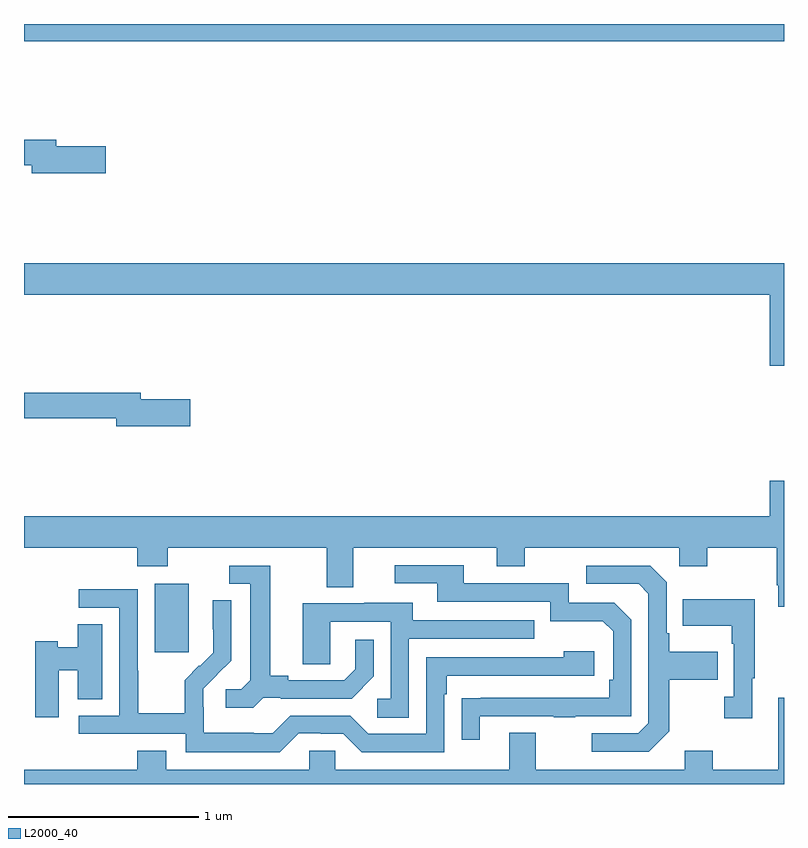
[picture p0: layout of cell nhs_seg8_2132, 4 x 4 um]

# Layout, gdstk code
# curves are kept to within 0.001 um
import gdstk
lib = gdstk.Library(unit=1e-6, precision=1e-09)
def R(c, l, rs):  # rectangles x0, y0, x1, y1
    for r in rs: c.add(gdstk.rectangle(r[:2], r[2:], *l))
def P(c, l, *ps):  # polygons
    for p in ps: c.add(gdstk.Polygon(p, *l))
L2000_40 = (2000, 40)

nhs_seg8_2132 = lib.new_cell('nhs_seg8_2132')
R(nhs_seg8_2132, L2000_40, [(245.687,1138.593,245.866,1138.954), (245,1141.808,249,1141.9)])
P(nhs_seg8_2132, L2000_40, [(245.431,1141.256),(245.17,1141.256),(245.17,1141.292),(245,1141.292),(245,1141.156),(245.042,1141.156),(245.042,1141.114),(245.431,1141.114)],
  [(249,1140.64),(245,1140.64),(245,1140.476),(248.924,1140.476),(248.924,1140.102),(249,1140.102)],
  [(245.875,1139.924),(245.614,1139.924),(245.614,1139.96),(245,1139.96),(245,1139.824),(245.486,1139.824),(245.486,1139.782),(245.875,1139.782)],
  [(245,1139.144),(245.597,1139.144),(245.597,1139.045),(245.757,1139.045),(245.757,1139.144),(246.593,1139.144),(246.593,1138.936),(246.733,1138.936),(246.733,1139.144),(247.487,1139.144),(247.487,1139.045),(247.635,1139.045),(247.635,1139.144),(248.448,1139.144),(248.448,1139.045),(248.595,1139.045),(248.595,1139.144),(248.962,1139.144),(248.962,1138.945),(248.969,1138.945),(248.969,1138.833),(249,1138.833),(249,1139.497),(248.924,1139.497),(248.924,1139.308),(245,1139.308)],
  [(247.399,1138.257),(247.789,1138.257),(247.789,1138.252),(247.901,1138.252),(247.901,1138.257),(248.196,1138.257),(248.196,1138.764),(248.106,1138.854),(247.866,1138.854),(247.866,1138.956),(247.315,1138.956),(247.315,1139.052),(246.951,1139.052),(246.951,1138.956),(247.175,1138.956),(247.175,1138.86),(247.77,1138.86),(247.77,1138.757),(248.047,1138.757),(248.1,1138.704),(248.1,1138.45),(248.08,1138.45),(248.08,1138.353),(247.303,1138.352),(247.303,1138.134),(247.399,1138.134)],
  [(248.395,1138.177),(248.395,1138.45),(248.651,1138.45),(248.651,1138.597),(248.395,1138.597),(248.395,1138.693),(248.382,1138.693),(248.382,1138.962),(248.295,1139.049),(247.959,1139.049),(247.959,1138.953),(248.235,1138.953),(248.286,1138.902),(248.286,1138.221),(248.232,1138.167),(247.989,1138.167),(247.989,1138.071),(248.289,1138.071)],
  [(246.258,1138.353),(246.352,1138.353),(246.352,1138.35),(246.724,1138.35),(246.84,1138.466),(246.84,1138.66),(246.743,1138.66),(246.743,1138.503),(246.686,1138.446),(246.391,1138.446),(246.391,1138.469),(246.295,1138.469),(246.295,1139.049),(246.081,1139.049),(246.081,1138.953),(246.191,1138.953),(246.191,1138.445),(246.144,1138.398),(246.063,1138.398),(246.063,1138.301),(246.206,1138.301)],
  [(246.447,1138.167),(246.563,1138.167),(246.563,1138.164),(246.681,1138.164),(246.777,1138.068),(247.212,1138.068),(247.212,1138.373),(247.225,1138.373),(247.225,1138.47),(248.002,1138.47),(248.002,1138.6),(247.841,1138.6),(247.841,1138.566),(247.116,1138.566),(247.116,1138.164),(246.813,1138.164),(246.717,1138.26),(246.402,1138.26),(246.309,1138.167),(246.209,1138.167),(246.209,1138.171),(245.946,1138.171),(245.946,1138.305),(245.944,1138.305),(245.944,1138.402),(246.09,1138.55),(246.09,1138.868),(245.994,1138.868),(245.994,1138.714),(245.996,1138.714),(245.996,1138.592),(245.925,1138.521),(245.922,1138.524),(245.845,1138.447),(245.845,1138.273),(245.601,1138.273),(245.601,1138.496),(245.598,1138.496),(245.598,1138.926),(245.289,1138.926),(245.289,1138.827),(245.502,1138.827),(245.502,1138.26),(245.289,1138.26),(245.289,1138.164),(245.85,1138.164),(245.85,1138.067),(246.347,1138.067)],
  [(248.833,1138.457),(248.845,1138.457),(248.845,1138.873),(248.467,1138.873),(248.467,1138.733),(248.724,1138.733),(248.724,1138.637),(248.736,1138.637),(248.736,1138.358),(248.685,1138.358),(248.685,1138.245),(248.833,1138.245)],
  [(247.026,1138.665),(247.685,1138.665),(247.685,1138.761),(247.045,1138.761),(247.045,1138.855),(246.791,1138.855),(246.791,1138.851),(246.467,1138.851),(246.467,1138.531),(246.612,1138.531),(246.612,1138.755),(246.93,1138.755),(246.93,1138.35),(246.858,1138.35),(246.858,1138.249),(247.026,1138.249)],
  [(245.182,1138.499),(245.282,1138.499),(245.282,1138.345),(245.413,1138.345),(245.413,1138.742),(245.282,1138.742),(245.282,1138.621),(245.178,1138.621),(245.178,1138.652),(245.06,1138.652),(245.06,1138.251),(245.182,1138.251)],
  [(249,1138.354),(248.969,1138.354),(248.969,1137.976),(248.625,1137.976),(248.625,1138.075),(248.477,1138.075),(248.477,1137.976),(247.693,1137.976),(247.693,1138.171),(247.553,1138.171),(247.553,1137.976),(246.639,1137.976),(246.639,1138.074),(246.501,1138.074),(246.501,1137.976),(245.749,1137.976),(245.749,1138.075),(245.597,1138.075),(245.597,1137.976),(245,1137.976),(245,1137.9),(249,1137.9)])

lib.write_gds('nhs_seg8_2132.gds')
